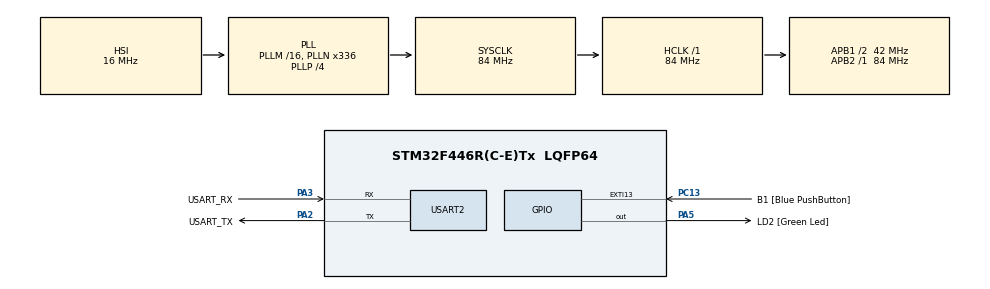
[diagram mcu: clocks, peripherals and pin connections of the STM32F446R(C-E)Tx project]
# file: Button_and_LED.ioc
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Mcu.Family=STM32F4
Mcu.Name=STM32F446R(C-E)Tx
Mcu.Package=LQFP64
NVIC.PriorityGroup=NVIC_PRIORITYGROUP_4
NVIC.TIM6_DAC_IRQn=true\:0\:0\:false\:false\:true\:false\:true
NVIC.TimeBase=TIM6_DAC_IRQn
NVIC.TimeBaseIP=TIM6
PA13.GPIO_Label=TMS
PA13.Mode=Serial_Wire
PA13.Signal=SYS_JTMS-SWDIO
PA14.GPIO_Label=TCK
PA14.Mode=Serial_Wire
PA14.Signal=SYS_JTCK-SWCLK
PA2.GPIO_Label=USART_TX
PA2.Mode=Asynchronous
PA2.Signal=USART2_TX
PA3.GPIO_Label=USART_RX
PA3.Mode=Asynchronous
PA3.Signal=USART2_RX
PA5.GPIO_Label=LD2 [Green Led]
PA5.Signal=GPIO_Output
PB3.GPIO_Label=SWO
PB3.Signal=SYS_JTDO-SWO
PC13.GPIO_Label=B1 [Blue PushButton]
PC13.GPIO_ModeDefaultEXTI=GPIO_MODE_IT_FALLING
PC13.Signal=GPXTI13
ProjectManager.HeapSize=0x200
ProjectManager.StackSize=0x400
ProjectManager.TargetToolchain=STM32CubeIDE
RCC.48MHZClocksFreq_Value=84000000
RCC.AHBFreq_Value=84000000
RCC.APB1CLKDivider=RCC_HCLK_DIV2
RCC.APB1Freq_Value=42000000
RCC.APB1TimFreq_Value=84000000
RCC.APB2Freq_Value=84000000
RCC.APB2TimFreq_Value=84000000
RCC.CortexFreq_Value=84000000
RCC.FLatency-AdvancedSettings=FLASH_LATENCY_2
RCC.HCLKFreq_Value=84000000
RCC.HSE_VALUE=8000000
RCC.HSI_VALUE=16000000
RCC.PLLN=336
RCC.PLLP=RCC_PLLP_DIV4
RCC.SYSCLKFreq_VALUE=84000000
RCC.SYSCLKSource=RCC_SYSCLKSOURCE_PLLCLK
RCC.USBFreq_Value=168000000
RCC.VCOOutputFreq_Value=336000000
USART2.VirtualMode=VM_ASYNC
VP_SYS_VS_tim6.Mode=TIM6
board=NUCLEO-F446RE

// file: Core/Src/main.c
/* Create two task and poll for button press in one task and toggle led in another task. */

/* USER CODE BEGIN Header */
/**
  ******************************************************************************
  * @file           : main.c
  * @brief          : Main program body
  ******************************************************************************
  * @attention
  *
  * <h2><center>&copy; Copyright (c) 2021 STMicroelectronics.
  * All rights reserved.</center></h2>
  *
  * This software component is licensed by ST under BSD 3-Clause license,
  * the "License"; You may not use this file except in compliance with the
  * License. You may obtain a copy of the License at:
  *                        opensource.org/licenses/BSD-3-Clause
  *
  ******************************************************************************
  */
/* USER CODE END Header */
#include "main.h"

/* USER CODE BEGIN Includes */

#include "stdint.h"

#include "FreeRTOS.h"
#include "task.h"

/* USER CODE END Includes */

UART_HandleTypeDef huart2;

/* USER CODE BEGIN PV */

static uint8_t button_pressed;

/* USER CODE END PV */

void SystemClock_Config(void);
static void MX_GPIO_Init(void);
static void MX_USART2_UART_Init(void);
/* USER CODE BEGIN PFP */
static void button_task_handler(void *);
static void led_task_handler(void *);

/* USER CODE END PFP */

int main(void)
{
  /* USER CODE BEGIN 1 */

  TaskHandle_t task1_handler_address;
  TaskHandle_t task2_handler_address;
  BaseType_t ret;

  /* USER CODE END 1 */

  /* MCU Configuration--------------------------------------------------------*/

  /* Reset of all peripherals, Initializes the Flash interface and the Systick. */
  HAL_Init();

  /* Configure the system clock */
  SystemClock_Config();

  /* Initialize all configured peripherals */
  MX_GPIO_Init();
  MX_USART2_UART_Init();

  /* USER CODE BEGIN 2 */

  ret = xTaskCreate(button_task_handler, "BUTTON TASK", 200, "BUTTON TASK running\n\n", 2, &task1_handler_address);
  configASSERT(ret == pdPASS);

  ret = xTaskCreate(led_task_handler, "LED TASK", 200, "LED TASK running\n\n", 2, &task2_handler_address);
  configASSERT(ret == pdPASS);

  //Start the Schedular
  vTaskStartScheduler();

  //Note: Control never comes out of this function ie Schedular untill unless schedular launch is failed

  /* USER CODE END 2 */

  /* Infinite loop */
  while (1)
  {

  }
}

void SystemClock_Config(void)
{
  RCC_OscInitTypeDef RCC_OscInitStruct = {0};
  RCC_ClkInitTypeDef RCC_ClkInitStruct = {0};

  /** Configure the main internal regulator output voltage
  */
  __HAL_RCC_PWR_CLK_ENABLE();
  __HAL_PWR_VOLTAGESCALING_CONFIG(PWR_REGULATOR_VOLTAGE_SCALE3);
  /** Initializes the RCC Oscillators according to the specified parameters
  * in the RCC_OscInitTypeDef structure.
  */
  RCC_OscInitStruct.OscillatorType = RCC_OSCILLATORTYPE_HSI;
  RCC_OscInitStruct.HSIState = RCC_HSI_ON;
  RCC_OscInitStruct.HSICalibrationValue = RCC_HSICALIBRATION_DEFAULT;
  RCC_OscInitStruct.PLL.PLLState = RCC_PLL_ON;
  RCC_OscInitStruct.PLL.PLLSource = RCC_PLLSOURCE_HSI;
  RCC_OscInitStruct.PLL.PLLM = 16;
  RCC_OscInitStruct.PLL.PLLN = 336;
  RCC_OscInitStruct.PLL.PLLP = RCC_PLLP_DIV4;
  RCC_OscInitStruct.PLL.PLLQ = 2;
  RCC_OscInitStruct.PLL.PLLR = 2;
  if (HAL_RCC_OscConfig(&RCC_OscInitStruct) != HAL_OK)
  {
    Error_Handler();
  }
  /** Initializes the CPU, AHB and APB buses clocks
  */
  RCC_ClkInitStruct.ClockType = RCC_CLOCKTYPE_HCLK|RCC_CLOCKTYPE_SYSCLK
                              |RCC_CLOCKTYPE_PCLK1|RCC_CLOCKTYPE_PCLK2;
  RCC_ClkInitStruct.SYSCLKSource = RCC_SYSCLKSOURCE_PLLCLK;
  RCC_ClkInitStruct.AHBCLKDivider = RCC_SYSCLK_DIV1;
  RCC_ClkInitStruct.APB1CLKDivider = RCC_HCLK_DIV2;
  RCC_ClkInitStruct.APB2CLKDivider = RCC_HCLK_DIV1;

  if (HAL_RCC_ClockConfig(&RCC_ClkInitStruct, FLASH_LATENCY_2) != HAL_OK)
  {
    Error_Handler();
  }
}

static void MX_USART2_UART_Init(void)
{

  huart2.Instance = USART2;
  huart2.Init.BaudRate = 115200;
  huart2.Init.WordLength = UART_WORDLENGTH_8B;
  huart2.Init.StopBits = UART_STOPBITS_1;
  huart2.Init.Parity = UART_PARITY_NONE;
  huart2.Init.Mode = UART_MODE_TX_RX;
  huart2.Init.HwFlowCtl = UART_HWCONTROL_NONE;
  huart2.Init.OverSampling = UART_OVERSAMPLING_16;
  if (HAL_UART_Init(&huart2) != HAL_OK)
  {
    Error_Handler();
  }

}

static void MX_GPIO_Init(void)
{
  GPIO_InitTypeDef GPIO_InitStruct = {0};

  /* GPIO Ports Clock Enable */
  __HAL_RCC_GPIOC_CLK_ENABLE();
  __HAL_RCC_GPIOA_CLK_ENABLE();
  __HAL_RCC_GPIOB_CLK_ENABLE();

  /*Configure GPIO pin Output Level */
  HAL_GPIO_WritePin(LD2_GPIO_Port, LD2_Pin, GPIO_PIN_RESET);

  /*Configure GPIO pin : B1_Pin */
  GPIO_InitStruct.Pin = B1_Pin;
  GPIO_InitStruct.Mode = GPIO_MODE_IT_FALLING;
  GPIO_InitStruct.Pull = GPIO_NOPULL;
  HAL_GPIO_Init(B1_GPIO_Port, &GPIO_InitStruct);

  /*Configure GPIO pin : LD2_Pin */
  GPIO_InitStruct.Pin = LD2_Pin;
  GPIO_InitStruct.Mode = GPIO_MODE_OUTPUT_PP;
  GPIO_InitStruct.Pull = GPIO_NOPULL;
  GPIO_InitStruct.Speed = GPIO_SPEED_FREQ_LOW;
  HAL_GPIO_Init(LD2_GPIO_Port, &GPIO_InitStruct);

}

/* USER CODE BEGIN 4 */

static void button_task_handler(void * parameter)
{

    while(1)
    {
      printf("%s\n", parameter);
      HAL_Delay(1000);

      //BY DEFAULT BUTTON PIN IS CONNECTED TO HIGH
      while(HAL_GPIO_ReadPin(B1_GPIO_Port, B1_Pin));
      button_pressed = 1;
    }
}

static void led_task_handler(void * parameter)
{
    while(1)
    {
      printf("%s\n", parameter);
      HAL_Delay(1000);

      if (button_pressed)
      {
        button_pressed = 0;
        HAL_GPIO_TogglePin(LD2_GPIO_Port, LD2_Pin);
      }
    }
}

void USART_Send(uint8_t * data, uint8_t size)
{
    if(HAL_UART_Transmit(&huart2, data, size, 100))
    {
      Error_Handler();
    }
}

/* USER CODE END 4 */

 /**
  * @brief  Period elapsed callback in non blocking mode
  * @note   This function is called  when TIM6 interrupt took place, inside
  * HAL_TIM_IRQHandler(). It makes a direct call to HAL_IncTick() to increment
  * a global variable "uwTick" used as application time base.
  * @param  htim : TIM handle
  * @retval None
  */
void HAL_TIM_PeriodElapsedCallback(TIM_HandleTypeDef *htim)
{
  if (htim->Instance == TIM6) {
    HAL_IncTick();
  }
}

void Error_Handler(void)
{
  __disable_irq();
  while (1)
  {
  }
}

/************************ (C) COPYRIGHT STMicroelectronics *****END OF FILE****/
